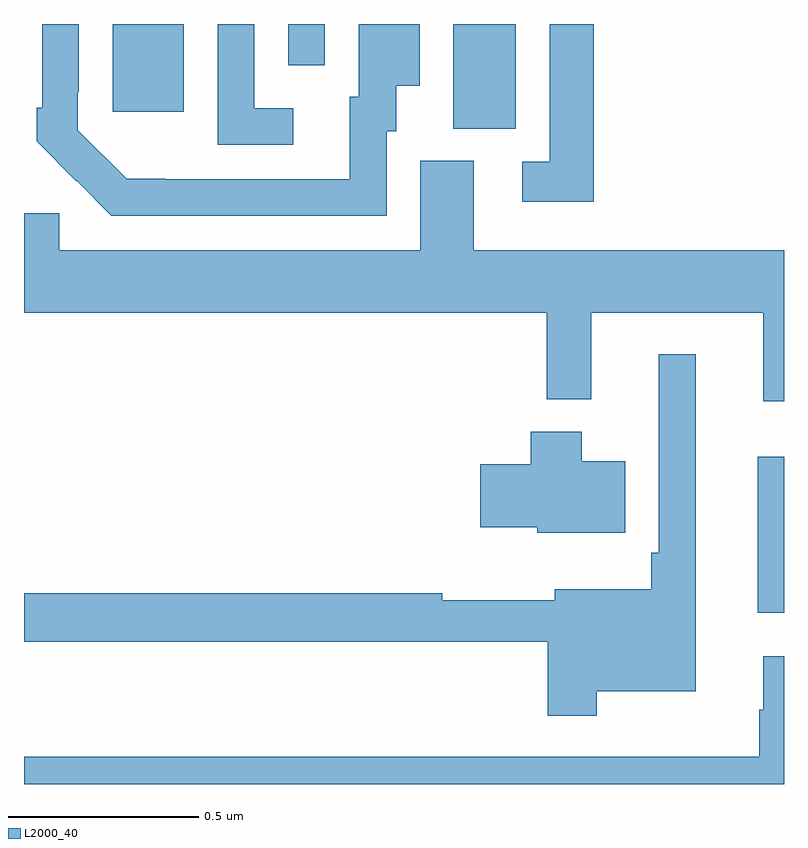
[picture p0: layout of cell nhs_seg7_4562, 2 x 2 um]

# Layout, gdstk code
import gdstk
lib = gdstk.Library(unit=1e-6, precision=1e-09)
def R(c, l, rs):  # rectangles x0, y0, x1, y1
    for r in rs: c.add(gdstk.rectangle(r[:2], r[2:], *l))
def P(c, l, *ps):  # polygons
    for p in ps: c.add(gdstk.Polygon(p, *l))
L2000_40 = (2000, 40)

nhs_seg7_4562 = lib.new_cell('nhs_seg7_4562')
R(nhs_seg7_4562, L2000_40, [(175.931,1042.451,176,1042.861), (175.13,1043.725,175.294,1044), (174.233,1043.769,174.421,1044), (174.696,1043.892,174.792,1044)])
P(nhs_seg7_4562, L2000_40, [(175.499,1044),(175.383,1044),(175.383,1043.637),(175.311,1043.637),(175.311,1043.532),(175.499,1043.532)],
  [(174.954,1043.718),(174.979,1043.718),(174.979,1043.837),(175.042,1043.837),(175.042,1044),(174.881,1044),(174.881,1043.808),(174.857,1043.808),(174.857,1043.592),(174.373,1043.592),(174.373,1043.593),(174.27,1043.593),(174.141,1043.721),(174.141,1043.821),(174.144,1043.821),(174.144,1044),(174.048,1044),(174.048,1043.779),(174.033,1043.779),(174.033,1043.691),(174.138,1043.586),(174.139,1043.587),(174.23,1043.496),(174.954,1043.496)],
  [(174.709,1043.778),(174.606,1043.778),(174.606,1044),(174.51,1044),(174.51,1043.682),(174.709,1043.682)],
  [(176,1043.404),(175.183,1043.404),(175.183,1043.64),(175.043,1043.64),(175.043,1043.404),(174.093,1043.404),(174.093,1043.502),(174,1043.502),(174,1043.24),(175.375,1043.24),(175.375,1043.012),(175.493,1043.012),(175.493,1043.24),(175.946,1043.24),(175.946,1043.007),(176,1043.007)],
  [(175.507,1042.244),(175.768,1042.244),(175.768,1043.131),(175.671,1043.131),(175.671,1042.609),(175.651,1042.609),(175.651,1042.513),(175.397,1042.513),(175.397,1042.484),(175.101,1042.484),(175.101,1042.502),(174,1042.502),(174,1042.374),(175.378,1042.374),(175.378,1042.179),(175.507,1042.179)],
  [(175.582,1042.849),(175.468,1042.849),(175.468,1042.927),(175.334,1042.927),(175.334,1042.842),(175.2,1042.842),(175.2,1042.676),(175.35,1042.676),(175.35,1042.661),(175.582,1042.661)],
  [(176,1042.336),(175.946,1042.336),(175.946,1042.196),(175.935,1042.196),(175.935,1042.072),(174,1042.072),(174,1042),(176,1042)])

lib.write_gds('nhs_seg7_4562.gds')
